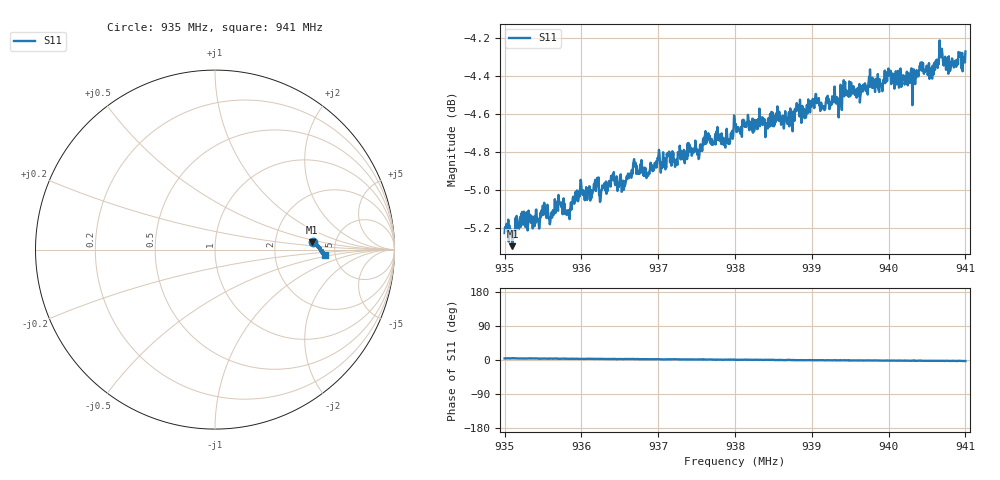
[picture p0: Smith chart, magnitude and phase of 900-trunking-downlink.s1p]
! Calibrated averaged scanner-service zoom
# Hz S RI R 50
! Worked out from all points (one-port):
!   1001 points, 935 MHz to 941 MHz, reference 50 ohm
!   lowest |S11| = -5.3 dB at 935.102 MHz (marker M1), VSWR 3.38, Z = 167 + j19.9 ohm
!   |S11| at or under -10 dB: nowhere
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9.35e8  0.5465 0.0398
9.35102e8  0.542 0.042
9.35234e8  0.5497 0.0378
9.3575e8  0.5571 0.0365
9.35816e8  0.5546 0.0318
9.35996e8  0.5644 0.0273
9.36194e8  0.5627 0.0288
9.365e8  0.5648 0.0255
9.36698e8  0.57 0.0229
9.3686e8  0.5677 0.0219
9.36998e8  0.5727 0.0222
9.37064e8  0.5752 0.0148
9.3725e8  0.5707 0.0192
9.37928e8  0.5781 0.0116
9.38e8  0.5847 0.00806
9.3875e8  0.5827 1.51e-05
9.39038e8  0.5937 -0.00393
9.39338e8  0.5922 -0.00861
9.39404e8  0.5985 -0.00718
9.395e8  0.5951 -0.013
9.39824e8  0.5966 -0.0118
9.39896e8  0.5988 -0.0161
9.39998e8  0.605 -0.0175
9.4025e8  0.5988 -0.021
9.40562e8  0.6019 -0.0225
9.40676e8  0.6114 -0.0214
9.40778e8  0.6029 -0.024
9.41e8  0.6108 -0.0295
